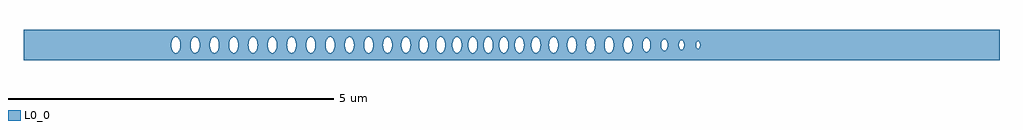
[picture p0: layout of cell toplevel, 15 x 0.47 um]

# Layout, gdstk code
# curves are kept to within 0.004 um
import gdstk
lib = gdstk.Library(unit=1e-6, precision=1e-09)
def P(c, l, *ps):  # polygons
    for p in ps: c.add(gdstk.Polygon(p, *l))
L0_0 = (0, 0)

toplevel = lib.new_cell('toplevel')
P(toplevel, L0_0, [(-4.611,-0.235),(-4.611,-0.096),(-4.628,-0.06),(-4.636,-0.016),(-4.632,0.046),(-4.611,0.096),(-4.611,0.235),(-7.5,0.235),(-7.5,-0.016),(-5.229,-0.016),(-5.226,0.038),(-5.216,0.073),(-5.193,0.109),(-5.163,0.124),(-5.137,0.118),(-5.114,0.096),(-5.093,0.046),(-5.089,-0.008),(-4.933,-0.008),(-4.93,0.038),(-4.917,0.079),(-4.896,0.109),(-4.867,0.124),(-4.841,0.118),(-4.814,0.09),(-4.797,0.046),(-4.792,0.008),(-4.795,-0.038),(-4.805,-0.073),(-4.832,-0.112),(-4.858,-0.124),(-4.884,-0.118),(-4.911,-0.09),(-4.928,-0.046),(-4.933,-0.008),(-5.089,-0.008),(-5.093,-0.046),(-5.114,-0.096),(-5.137,-0.118),(-5.155,-0.124),(-5.181,-0.118),(-5.204,-0.096),(-5.221,-0.06),(-5.229,-0.016),(-7.5,-0.016),(-7.5,-0.235)],
  [(-4.043,0.016),(-4.033,0.066),(-4.011,0.105),(-3.986,0.122),(-3.96,0.122),(-3.96,0.235),(-4.611,0.235),(-4.611,0.096),(-4.588,0.118),(-4.57,0.124),(-4.553,0.122),(-4.532,0.109),(-4.504,0.06),(-4.496,-0.008),(-4.34,-0.008),(-4.337,0.038),(-4.327,0.073),(-4.3,0.112),(-4.274,0.124),(-4.248,0.118),(-4.221,0.09),(-4.204,0.046),(-4.199,0.008),(-4.201,-0.031),(-4.215,-0.079),(-4.236,-0.109),(-4.265,-0.124),(-4.291,-0.118),(-4.318,-0.09),(-4.335,-0.046),(-4.34,-0.008),(-4.496,-0.008),(-4.504,-0.06),(-4.532,-0.109),(-4.553,-0.122),(-4.57,-0.124),(-4.588,-0.118),(-4.611,-0.096),(-4.611,-0.235),(-3.96,-0.235),(-3.96,-0.122),(-3.991,-0.12),(-4.018,-0.096),(-4.039,-0.046)],
  [(-3.45,0.016),(-3.446,0.046),(-3.431,0.085),(-3.414,0.109),(-3.393,0.122),(-3.367,0.122),(-3.346,0.109),(-3.318,0.06),(-3.318,0.235),(-3.96,0.235),(-3.96,0.122),(-3.935,0.105),(-3.916,0.073),(-3.906,0.038),(-3.903,-0.008),(-3.747,-0.008),(-3.744,0.038),(-3.734,0.073),(-3.711,0.109),(-3.681,0.124),(-3.655,0.118),(-3.628,0.09),(-3.611,0.046),(-3.606,0.008),(-3.608,-0.031),(-3.622,-0.079),(-3.643,-0.109),(-3.672,-0.124),(-3.703,-0.115),(-3.725,-0.09),(-3.742,-0.046),(-3.747,-0.008),(-3.903,-0.008),(-3.916,-0.073),(-3.935,-0.105),(-3.96,-0.122),(-3.96,-0.235),(-3.318,-0.235),(-3.318,-0.06),(-3.335,-0.096),(-3.358,-0.118),(-3.376,-0.124),(-3.402,-0.118),(-3.425,-0.096),(-3.44,-0.066)],
  [(-3.312,-0.031),(-3.318,-0.06),(-3.318,-0.235),(-2.556,-0.235),(-2.556,-0.046),(-2.561,-0.016),(-2.556,0.235),(-3.318,0.235),(-3.318,0.059),(-3.31,-0.016),(-3.154,-0.016),(-3.151,0.038),(-3.141,0.073),(-3.118,0.109),(-3.088,0.124),(-3.062,0.118),(-3.035,0.09),(-3.018,0.046),(-3.013,0),(-2.858,0),(-2.849,0.06),(-2.829,0.1),(-2.8,0.122),(-2.765,0.118),(-2.742,0.096),(-2.725,0.06),(-2.717,-0.016),(-2.723,-0.053),(-2.736,-0.085),(-2.753,-0.109),(-2.774,-0.122),(-2.805,-0.12),(-2.832,-0.096),(-2.853,-0.046),(-2.858,0),(-3.013,0),(-3.018,-0.046),(-3.032,-0.085),(-3.05,-0.109),(-3.079,-0.124),(-3.105,-0.118),(-3.129,-0.096),(-3.141,-0.073),(-3.154,-0.016),(-3.31,-0.016)],
  [(-2.552,0.06),(-2.525,0.109),(-2.504,0.122),(-2.477,0.122),(-2.453,0.105),(-2.436,0.079),(-2.422,0.031),(-2.42,-0.008),(-2.266,-0.008),(-2.261,0.046),(-2.247,0.085),(-2.217,0.118),(-2.191,0.124),(-2.161,0.109),(-2.144,0.085),(-2.128,0.038),(-2.125,-0.008),(-2.128,-0.038),(-2.144,-0.085),(-2.161,-0.109),(-2.191,-0.124),(-2.217,-0.118),(-2.244,-0.09),(-2.261,-0.046),(-2.266,-0.008),(-2.42,-0.008),(-2.425,-0.046),(-2.439,-0.085),(-2.457,-0.109),(-2.486,-0.124),(-2.504,-0.122),(-2.525,-0.109),(-2.548,-0.073),(-2.556,-0.046),(-2.556,-0.235),(-1.918,-0.235),(-1.918,-0.122),(-1.939,-0.109),(-1.956,-0.085),(-1.969,-0.053),(-1.975,-0.016),(-1.972,0.038),(-1.962,0.073),(-1.943,0.105),(-1.918,0.122),(-1.918,0.235),(-2.556,0.235),(-2.556,0.046)],
  [(-1.42,0.016),(-1.407,0.073),(-1.395,0.096),(-1.372,0.118),(-1.355,0.124),(-1.328,0.118),(-1.299,0.085),(-1.299,0.235),(-1.918,0.235),(-1.918,0.122),(-1.887,0.12),(-1.86,0.096),(-1.839,0.046),(-1.835,-0.008),(-1.693,-0.008),(-1.691,0.031),(-1.677,0.079),(-1.656,0.109),(-1.627,0.124),(-1.601,0.118),(-1.577,0.096),(-1.565,0.073),(-1.552,0.016),(-1.555,-0.038),(-1.565,-0.073),(-1.588,-0.109),(-1.618,-0.124),(-1.644,-0.118),(-1.671,-0.09),(-1.688,-0.046),(-1.693,-0.008),(-1.835,-0.008),(-1.839,-0.046),(-1.86,-0.096),(-1.887,-0.12),(-1.918,-0.122),(-1.918,-0.235),(-1.299,-0.235),(-1.299,-0.085),(-1.316,-0.109),(-1.337,-0.122),(-1.363,-0.122),(-1.384,-0.109),(-1.412,-0.06)],
  [(-0.665,-0.008),(-0.664,0.235),(-1.299,0.235),(-1.299,0.085),(-1.283,0.038),(-1.28,-0.016),(-1.159,-0.016),(-1.156,0.038),(-1.146,0.073),(-1.123,0.109),(-1.093,0.124),(-1.067,0.118),(-1.037,0.085),(-1.023,0.046),(-1.018,-0.008),(-0.908,-0.008),(-0.906,0.031),(-0.892,0.079),(-0.871,0.109),(-0.842,0.124),(-0.816,0.118),(-0.789,0.09),(-0.772,0.046),(-0.767,0.008),(-0.77,-0.038),(-0.78,-0.073),(-0.807,-0.112),(-0.833,-0.124),(-0.859,-0.118),(-0.886,-0.09),(-0.903,-0.046),(-0.908,-0.008),(-1.018,-0.008),(-1.023,-0.046),(-1.037,-0.085),(-1.055,-0.109),(-1.084,-0.124),(-1.11,-0.118),(-1.134,-0.096),(-1.146,-0.073),(-1.159,-0.016),(-1.28,-0.016),(-1.286,-0.053),(-1.299,-0.085),(-1.299,-0.235),(-0.664,-0.235)],
  [(-0.188,0.023),(-0.176,0.073),(-0.156,0.105),(-0.156,0.235),(-0.664,0.235),(-0.664,0.023),(-0.654,0.066),(-0.639,0.096),(-0.616,0.118),(-0.59,0.124),(-0.56,0.109),(-0.537,0.073),(-0.527,0.038),(-0.524,-0.016),(-0.426,-0.016),(-0.423,0.038),(-0.407,0.085),(-0.378,0.118),(-0.351,0.124),(-0.322,0.109),(-0.304,0.085),(-0.29,0.046),(-0.285,0),(-0.29,-0.046),(-0.304,-0.085),(-0.322,-0.109),(-0.351,-0.124),(-0.378,-0.118),(-0.401,-0.096),(-0.418,-0.06),(-0.426,-0.016),(-0.524,-0.016),(-0.537,-0.073),(-0.549,-0.096),(-0.568,-0.115),(-0.59,-0.124),(-0.616,-0.118),(-0.636,-0.1),(-0.654,-0.067),(-0.664,-0.026),(-0.664,-0.235),(-0.156,-0.235),(-0.156,-0.105),(-0.176,-0.073),(-0.184,-0.046)],
  [(-0.145,0.115),(-0.114,0.124),(-0.097,0.118),(-0.077,0.1),(-0.053,0.046),(-0.048,-0.008),(0.052,-0.008),(0.055,0.038),(0.074,0.09),(0.101,0.118),(0.118,0.124),(0.136,0.122),(0.16,0.105),(0.177,0.079),(0.191,0.031),(0.193,-0.008),(0.188,-0.046),(0.174,-0.085),(0.156,-0.109),(0.127,-0.124),(0.096,-0.115),(0.074,-0.09),(0.057,-0.046),(0.052,-0.008),(-0.048,-0.008),(-0.059,-0.066),(-0.085,-0.109),(-0.105,-0.122),(-0.123,-0.124),(-0.156,-0.105),(-0.156,-0.235),(0.41,-0.235),(0.41,-0.109),(0.38,-0.124),(0.362,-0.122),(0.342,-0.109),(0.316,-0.066),(0.305,-0.008),(0.314,0.06),(0.338,0.105),(0.371,0.124),(0.389,0.122),(0.41,0.109),(0.41,0.235),(-0.156,0.235),(-0.156,0.105)],
  [(0.41,0.235),(0.41,0.109),(0.433,0.073),(0.443,0.038),(0.446,-0.008),(0.575,-0.008),(0.58,0.046),(0.591,0.079),(0.612,0.109),(0.641,0.124),(0.668,0.118),(0.691,0.096),(0.71,0.053),(0.716,0.016),(0.713,-0.038),(0.703,-0.073),(0.68,-0.109),(0.65,-0.124),(0.624,-0.118),(0.601,-0.096),(0.584,-0.06),(0.575,-0.008),(0.446,-0.008),(0.433,-0.073),(0.41,-0.109),(0.41,-0.235),(0.997,-0.235),(0.997,-0.026),(0.988,-0.066),(0.973,-0.096),(0.95,-0.118),(0.924,-0.124),(0.906,-0.118),(0.883,-0.096),(0.866,-0.06),(0.858,-0.016),(0.861,0.038),(0.871,0.073),(0.89,0.105),(0.915,0.122),(0.941,0.122),(0.966,0.105),(0.988,0.066),(0.997,0.023),(0.997,0.235)],
  [(1.73,-0.235),(1.73,-0.066),(1.719,-0.016),(1.721,0.031),(1.73,0.066),(1.73,0.235),(0.997,0.235),(0.998,-0.016),(1.144,-0.016),(1.147,0.038),(1.157,0.073),(1.18,0.109),(1.21,0.124),(1.236,0.118),(1.266,0.085),(1.28,0.046),(1.284,-0.016),(1.43,-0.016),(1.433,0.038),(1.443,0.073),(1.466,0.109),(1.496,0.124),(1.522,0.118),(1.545,0.096),(1.562,0.06),(1.571,0.008),(1.566,-0.046),(1.555,-0.079),(1.534,-0.109),(1.505,-0.124),(1.478,-0.118),(1.455,-0.096),(1.436,-0.053),(1.43,-0.016),(1.284,-0.016),(1.266,-0.085),(1.248,-0.109),(1.219,-0.124),(1.192,-0.118),(1.169,-0.096),(1.15,-0.054),(1.144,-0.016),(0.998,-0.016),(0.997,-0.235)],
  [(1.738,0.085),(1.767,0.118),(1.802,0.122),(1.827,0.105),(1.844,0.079),(1.858,0.031),(1.86,-0.007),(2.015,-0.007),(2.019,0.04),(2.034,0.079),(2.057,0.103),(2.08,0.108),(2.102,0.098),(2.125,0.064),(2.136,-0.014),(2.12,-0.074),(2.102,-0.098),(2.08,-0.108),(2.057,-0.103),(2.034,-0.079),(2.019,-0.04),(2.015,-0.007),(1.86,-0.007),(1.855,-0.046),(1.841,-0.085),(1.823,-0.109),(1.794,-0.124),(1.776,-0.122),(1.755,-0.109),(1.73,-0.067),(1.73,-0.235),(2.375,-0.235),(2.375,-0.081),(2.353,-0.092),(2.326,-0.081),(2.309,-0.054),(2.3,-0.012),(2.304,0.039),(2.323,0.078),(2.347,0.092),(2.375,0.081),(2.375,0.235),(1.73,0.235),(1.73,0.066)],
  [(2.4,-0.017),(2.395,-0.044),(2.375,-0.081),(2.375,-0.235),(7.5,-0.235),(7.5,0.235),(2.375,0.235),(2.375,0.081),(2.395,0.044),(2.401,-0.005),(2.572,-0.005),(2.583,0.052),(2.593,0.067),(2.61,0.076),(2.628,0.071),(2.643,0.052),(2.652,0.023),(2.653,-0.008),(2.837,-0.008),(2.845,0.041),(2.864,0.06),(2.883,0.053),(2.898,0.015),(2.893,-0.035),(2.872,-0.06),(2.851,-0.051),(2.837,-0.008),(2.653,-0.008),(2.643,-0.052),(2.633,-0.067),(2.615,-0.076),(2.598,-0.071),(2.587,-0.059),(2.572,-0.005),(2.401,-0.005)])

lib.write_gds('toplevel.gds')
